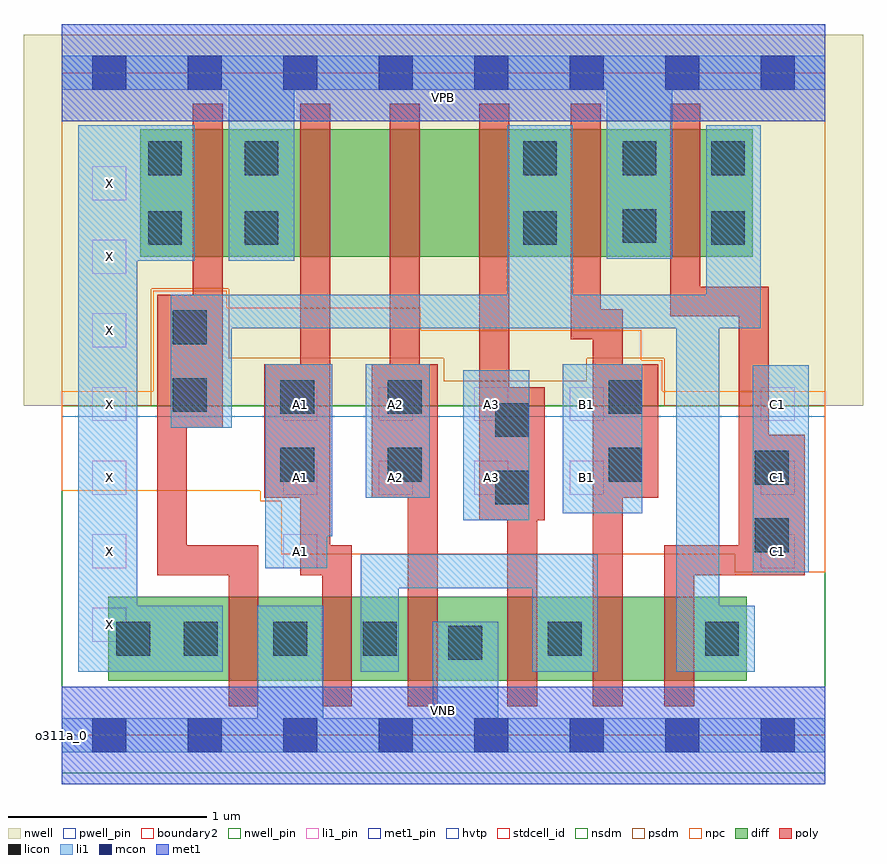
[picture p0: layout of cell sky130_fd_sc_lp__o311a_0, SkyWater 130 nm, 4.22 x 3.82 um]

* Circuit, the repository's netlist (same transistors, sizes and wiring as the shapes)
* Copyright 2020 The SkyWater PDK Authors
*
* Licensed under the Apache License, Version 2.0 (the "License");
* you may not use this file except in compliance with the License.
* You may obtain a copy of the License at
*
*     https://www.apache.org/licenses/LICENSE-2.0
*
* Unless required by applicable law or agreed to in writing, software
* distributed under the License is distributed on an "AS IS" BASIS,
* WITHOUT WARRANTIES OR CONDITIONS OF ANY KIND, either express or implied.
* See the License for the specific language governing permissions and
* limitations under the License.
*
* SPDX-License-Identifier: Apache-2.0

.SUBCKT sky130_fd_sc_lp__o311a_0 A1 A2 A3 B1 C1 VGND VNB VPB VPWR X
*.PININFO A1:I A2:I A3:I B1:I C1:I VGND:I VNB:I VPB:I VPWR:I X:O
MMPA0 VPWR A1 sndA1 VPB sky130_fd_pr__pfet_01v8_hvt m=1 w=0.64U l=0.15U mult=1
+ sa=0.265 sb=0.265 sd=0.28 area=0.063 perim=1.14
MMPA1 sndA1 A2 sndA2 VPB sky130_fd_pr__pfet_01v8_hvt m=1 w=0.64U l=0.15U mult=1
+ sa=0.265 sb=0.265 sd=0.28 area=0.063 perim=1.14
MMPA2 sndA2 A3 y VPB sky130_fd_pr__pfet_01v8_hvt m=1 w=0.64U l=0.15U mult=1 sa=0.265
+ sb=0.265 sd=0.28 area=0.063 perim=1.14
MMPB0 VPWR B1 y VPB sky130_fd_pr__pfet_01v8_hvt m=1 w=0.64U l=0.15U mult=1 sa=0.265
+ sb=0.265 sd=0.28 area=0.063 perim=1.14
MMPC0 VPWR C1 y VPB sky130_fd_pr__pfet_01v8_hvt m=1 w=0.64U l=0.15U mult=1 sa=0.265
+ sb=0.265 sd=0.28 area=0.063 perim=1.14
MMIPX X y VPWR VPB sky130_fd_pr__pfet_01v8_hvt m=1 w=0.64U l=0.15U mult=1 sa=0.265
+ sb=0.265 sd=0.28 area=0.063 perim=1.14
MMNA0 pndA A1 VGND VNB sky130_fd_pr__nfet_01v8 m=1 w=0.42U l=0.15U mult=1 sa=0.265
+ sb=0.265 sd=0.28 area=0.063 perim=1.14
MMNA1 pndA A2 VGND VNB sky130_fd_pr__nfet_01v8 m=1 w=0.42U l=0.15U mult=1 sa=0.265
+ sb=0.265 sd=0.28 area=0.063 perim=1.14
MMNA2 pndA A3 VGND VNB sky130_fd_pr__nfet_01v8 m=1 w=0.42U l=0.15U mult=1 sa=0.265
+ sb=0.265 sd=0.28 area=0.063 perim=1.14
MMNB0 pndB B1 pndA VNB sky130_fd_pr__nfet_01v8 m=1 w=0.42U l=0.15U mult=1 sa=0.265
+ sb=0.265 sd=0.28 area=0.063 perim=1.14
MMNC0 y C1 pndB VNB sky130_fd_pr__nfet_01v8 m=1 w=0.42U l=0.15U mult=1 sa=0.265
+ sb=0.265 sd=0.28 area=0.063 perim=1.14
MMINX X y VGND VNB sky130_fd_pr__nfet_01v8 m=1 w=0.42U l=0.15U mult=1 sa=0.265
+ sb=0.265 sd=0.28 area=0.063 perim=1.14
.ENDS sky130_fd_sc_lp__o311a_0

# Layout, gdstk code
import gdstk
lib = gdstk.Library(unit=1e-6, precision=1e-09)
def R(c, l, rs):  # rectangles x0, y0, x1, y1
    for r in rs: c.add(gdstk.rectangle(r[:2], r[2:], *l))
def A(c, l, x, y, w, h, nx, ny, dx, dy):  # array of equal rectangles
    R(c, l, [(x+i*dx, y+j*dy, x+i*dx+w, y+j*dy+h) for i in range(nx) for j in range(ny)])
def P(c, l, *ps):  # polygons
    for p in ps: c.add(gdstk.Polygon(p, *l))
nwell_pin = (64, 16)
nwell = (64, 20)
diff = (65, 20)
poly = (66, 20)
licon = (66, 44)
li1_pin = (67, 16)
li1 = (67, 20)
mcon = (67, 44)
met1_pin = (68, 16)
met1 = (68, 20)
hvtp = (78, 44)
stdcell_id = (81, 4)
nsdm = (93, 44)
psdm = (94, 20)
npc = (95, 20)
pwell_pin = (122, 16)
boundary2 = (236, 0)

sky130_fd_sc_lp__o311a_0 = lib.new_cell('sky130_fd_sc_lp__o311a_0')
R(sky130_fd_sc_lp__o311a_0, nwell_pin, [(0,3.085,3.84,3.33)])
R(sky130_fd_sc_lp__o311a_0, nwell, [(-0.19,1.655,4.03,3.52)])
R(sky130_fd_sc_lp__o311a_0, diff, [(0.235,0.275,3.445,0.695), (0.395,2.405,3.475,3.045)])
R(sky130_fd_sc_lp__o311a_0, poly, [(1.65,1.865,1.8,3.175)])
P(sky130_fd_sc_lp__o311a_0, poly, [(0.99,0.955),(0.63,0.955),(0.63,1.545),(0.81,1.545),(0.81,3.175),(0.66,3.175),(0.66,2.215),(0.48,2.215),(0.48,0.805),(0.84,0.805),(0.84,0.145),(0.99,0.145)],
  [(1.46,0.955),(1.35,0.955),(1.35,3.175),(1.2,3.175),(1.2,1.865),(1.02,1.865),(1.02,1.195),(1.2,1.195),(1.2,0.805),(1.31,0.805),(1.31,0.145),(1.46,0.145)],
  [(1.89,1.865),(1.56,1.865),(1.56,1.195),(1.74,1.195),(1.74,0.145),(1.89,0.145)],
  [(2.43,1.75),(2.25,1.75),(2.25,3.175),(2.1,3.175),(2.1,1.08),(2.24,1.08),(2.24,0.145),(2.39,0.145),(2.39,1.08),(2.43,1.08)],
  [(3,1.865),(2.82,1.865),(2.82,2.14),(2.71,2.14),(2.71,3.175),(2.56,3.175),(2.56,1.99),(2.67,1.99),(2.67,0.145),(2.82,0.145),(2.82,1.195),(3,1.195)],
  [(3.735,1.51),(3.555,1.51),(3.555,2.255),(3.21,2.255),(3.21,3.175),(3.06,3.175),(3.06,2.105),(3.405,2.105),(3.405,0.955),(3.03,0.955),(3.03,0.145),(3.18,0.145),(3.18,0.805),(3.735,0.805)])
A(sky130_fd_sc_lp__o311a_0, licon, 0.615, 0.4, 0.17, 0.17, 3, 1, 0.45, 0)
R(sky130_fd_sc_lp__o311a_0, licon, [(1.945,0.38,2.115,0.55), (0.275,0.4,0.445,0.57), (2.445,0.4,2.615,0.57), (3.235,0.4,3.405,0.57), (3.485,0.92,3.655,1.09), (2.18,1.16,2.35,1.33), (3.485,1.26,3.655,1.43), (1.1,1.275,1.27,1.445), (1.64,1.275,1.81,1.445), (2.75,1.275,2.92,1.445), (2.18,1.5,2.35,1.67), (1.1,1.615,1.27,1.785), (1.64,1.615,1.81,1.785), (2.75,1.615,2.92,1.785), (0.56,1.625,0.73,1.795), (0.56,1.965,0.73,2.135), (0.435,2.465,0.605,2.635), (0.92,2.465,1.09,2.635), (2.32,2.465,2.49,2.635), (3.265,2.465,3.435,2.635), (2.82,2.475,2.99,2.645), (0.435,2.815,0.605,2.985), (0.92,2.815,1.09,2.985), (2.32,2.815,2.49,2.985), (2.82,2.815,2.99,2.985), (3.265,2.815,3.435,2.985)])
A(sky130_fd_sc_lp__o311a_0, li1_pin, 0.155, 0.47, 0.17, 0.17, 1, 7, 0, 0.37)
A(sky130_fd_sc_lp__o311a_0, li1_pin, 3.515, 0.84, 0.17, 0.17, 1, 3, 0, 0.37)
A(sky130_fd_sc_lp__o311a_0, li1_pin, 1.115, 1.21, 0.17, 0.17, 4, 2, 0.48, 0.37)
R(sky130_fd_sc_lp__o311a_0, li1_pin, [(1.115,0.84,1.285,1.01)])
R(sky130_fd_sc_lp__o311a_0, li1, [(3.475,0.82,3.755,1.86), (2.02,1.08,2.35,1.835), (2.52,1.115,2.92,1.865), (1.53,1.195,1.85,1.865)])
P(sky130_fd_sc_lp__o311a_0, li1, [(2.74,2.395),(2.74,3.245),(1.17,3.245),(1.17,2.385),(0.84,2.385),(0.84,3.245),(0,3.245),(0,3.415),(3.84,3.415),(3.84,3.245),(3.07,3.245),(3.07,2.395)],
  [(1.865,0.085),(1.865,0.57),(2.195,0.57),(2.195,0.085),(3.84,0.085),(3.84,-0.085),(0,-0.085),(0,0.085),(0.985,0.085),(0.985,0.65),(1.315,0.65),(1.315,0.085)],
  [(1.36,1.865),(1.025,1.865),(1.025,0.84),(1.335,0.84),(1.335,1),(1.36,1)],
  [(3.24,2.215),(3.24,3.065),(3.515,3.065),(3.515,2.045),(3.305,2.045),(3.305,0.65),(3.485,0.65),(3.485,0.32),(3.09,0.32),(3.09,2.045),(0.855,2.045),(0.855,1.545),(0.55,1.545),(0.55,2.215),(2.24,2.215),(2.24,3.065),(2.57,3.065),(2.57,2.215)],
  [(0.085,3.065),(0.67,3.065),(0.67,2.385),(0.38,2.385),(0.38,0.65),(0.81,0.65),(0.81,0.32),(0.085,0.32)],
  [(2.365,0.74),(1.695,0.74),(1.695,0.32),(1.505,0.32),(1.505,0.91),(2.695,0.91),(2.695,0.32),(2.365,0.32)])
A(sky130_fd_sc_lp__o311a_0, mcon, 0.155, -0.085, 0.17, 0.17, 8, 2, 0.48, 3.33)
R(sky130_fd_sc_lp__o311a_0, met1_pin, [(0,0,3.84,0.245), (0,3.085,3.84,3.33)])
R(sky130_fd_sc_lp__o311a_0, met1, [(0,-0.245,3.84,0.245), (0,3.085,3.84,3.575)])
R(sky130_fd_sc_lp__o311a_0, hvtp, [(0,1.6,3.84,3.33)])
R(sky130_fd_sc_lp__o311a_0, stdcell_id, [(0,0,3.84,3.33)])
R(sky130_fd_sc_lp__o311a_0, nsdm, [(0,-0.19,3.84,1.655)])
P(sky130_fd_sc_lp__o311a_0, psdm, [(3.84,3.52),(0,3.52),(0,1.655),(0.45,1.655),(0.45,2.245),(0.84,2.245),(0.84,1.895),(1.92,1.895),(1.92,1.78),(2.64,1.78),(2.64,1.895),(3.03,1.895),(3.03,1.655),(3.84,1.655)])
P(sky130_fd_sc_lp__o311a_0, npc, [(3.84,1.73),(3.02,1.73),(3.02,1.885),(2.915,1.885),(2.915,2.035),(1.805,2.035),(1.805,2.15),(0.83,2.15),(0.83,2.235),(0.46,2.235),(0.46,1.73),(0,1.73),(0,1.23),(1,1.23),(1,1.175),(1.105,1.175),(1.105,0.91),(3.385,0.91),(3.385,0.82),(3.84,0.82)])
R(sky130_fd_sc_lp__o311a_0, pwell_pin, [(0,0,3.84,0.245)])
R(sky130_fd_sc_lp__o311a_0, boundary2, [(0,0,3.84,3.33)])
sky130_fd_sc_lp__o311a_0.add(gdstk.Label('VNB', (1.92,0.123), layer=64, texttype=59))
sky130_fd_sc_lp__o311a_0.add(gdstk.Label('VPB', (1.92,3.208), layer=64, texttype=5))
sky130_fd_sc_lp__o311a_0.add(gdstk.Label('o311a_0', (0,0), layer=83, texttype=44))
sky130_fd_sc_lp__o311a_0.add(gdstk.Label('VPWR', (1.92,3.208), layer=68, texttype=5))
sky130_fd_sc_lp__o311a_0.add(gdstk.Label('VGND', (1.92,0.123), layer=68, texttype=5))
sky130_fd_sc_lp__o311a_0.add(gdstk.Label('A1', (1.2,0.925), layer=67, texttype=5))
sky130_fd_sc_lp__o311a_0.add(gdstk.Label('A1', (1.2,1.295), layer=67, texttype=5))
sky130_fd_sc_lp__o311a_0.add(gdstk.Label('A1', (1.2,1.665), layer=67, texttype=5))
sky130_fd_sc_lp__o311a_0.add(gdstk.Label('A2', (1.68,1.295), layer=67, texttype=5))
sky130_fd_sc_lp__o311a_0.add(gdstk.Label('A2', (1.68,1.665), layer=67, texttype=5))
sky130_fd_sc_lp__o311a_0.add(gdstk.Label('A3', (2.16,1.295), layer=67, texttype=5))
sky130_fd_sc_lp__o311a_0.add(gdstk.Label('A3', (2.16,1.665), layer=67, texttype=5))
sky130_fd_sc_lp__o311a_0.add(gdstk.Label('B1', (2.64,1.295), layer=67, texttype=5))
sky130_fd_sc_lp__o311a_0.add(gdstk.Label('B1', (2.64,1.665), layer=67, texttype=5))
sky130_fd_sc_lp__o311a_0.add(gdstk.Label('C1', (3.6,0.925), layer=67, texttype=5))
sky130_fd_sc_lp__o311a_0.add(gdstk.Label('C1', (3.6,1.295), layer=67, texttype=5))
sky130_fd_sc_lp__o311a_0.add(gdstk.Label('C1', (3.6,1.665), layer=67, texttype=5))
sky130_fd_sc_lp__o311a_0.add(gdstk.Label('X', (0.24,0.555), layer=67, texttype=5))
sky130_fd_sc_lp__o311a_0.add(gdstk.Label('X', (0.24,0.925), layer=67, texttype=5))
sky130_fd_sc_lp__o311a_0.add(gdstk.Label('X', (0.24,1.295), layer=67, texttype=5))
sky130_fd_sc_lp__o311a_0.add(gdstk.Label('X', (0.24,1.665), layer=67, texttype=5))
sky130_fd_sc_lp__o311a_0.add(gdstk.Label('X', (0.24,2.035), layer=67, texttype=5))
sky130_fd_sc_lp__o311a_0.add(gdstk.Label('X', (0.24,2.405), layer=67, texttype=5))
sky130_fd_sc_lp__o311a_0.add(gdstk.Label('X', (0.24,2.775), layer=67, texttype=5))

lib.write_gds('sky130_fd_sc_lp__o311a_0.gds')
